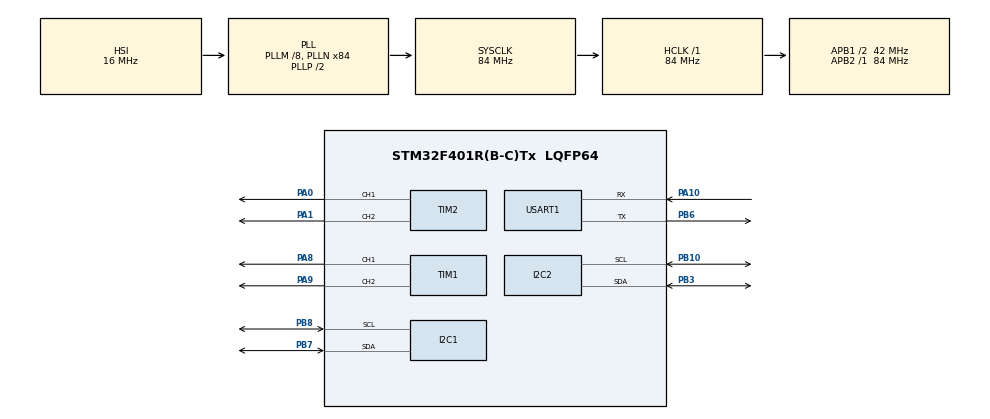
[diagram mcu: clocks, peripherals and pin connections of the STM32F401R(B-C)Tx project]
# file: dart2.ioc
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Mcu.Family=STM32F4
Mcu.Name=STM32F401R(B-C)Tx
Mcu.Package=LQFP64
NVIC.PriorityGroup=NVIC_PRIORITYGROUP_4
PA0-WKUP.Signal=S_TIM2_CH1_ETR
PA1.Signal=S_TIM2_CH2
PA10.Mode=Asynchronous
PA10.Signal=USART1_RX
PA13.Mode=Serial_Wire
PA13.Signal=SYS_JTMS-SWDIO
PA14.Mode=Serial_Wire
PA14.Signal=SYS_JTCK-SWCLK
PA8.Signal=S_TIM1_CH1
PA9.Signal=S_TIM1_CH2
PB10.Mode=I2C
PB10.Signal=I2C2_SCL
PB3.Mode=I2C
PB3.Signal=I2C2_SDA
PB6.Mode=Asynchronous
PB6.Signal=USART1_TX
PB7.Mode=I2C
PB7.Signal=I2C1_SDA
PB8.Mode=I2C
PB8.Signal=I2C1_SCL
PH0\ -\ OSC_IN.Mode=HSE-External-Oscillator
PH0\ -\ OSC_IN.Signal=RCC_OSC_IN
PH1\ -\ OSC_OUT.Mode=HSE-External-Oscillator
PH1\ -\ OSC_OUT.Signal=RCC_OSC_OUT
ProjectManager.HeapSize=0x200
ProjectManager.StackSize=0x400
ProjectManager.TargetToolchain=MDK-ARM V5.32
RCC.48MHZClocksFreq_Value=42000000
RCC.AHBFreq_Value=84000000
RCC.APB1CLKDivider=RCC_HCLK_DIV2
RCC.APB1Freq_Value=42000000
RCC.APB1TimFreq_Value=84000000
RCC.APB2Freq_Value=84000000
RCC.APB2TimFreq_Value=84000000
RCC.CortexFreq_Value=84000000
RCC.HCLKFreq_Value=84000000
RCC.HSE_VALUE=25000000
RCC.HSI_VALUE=16000000
RCC.LSE_VALUE=32768
RCC.PLLM=8
RCC.PLLN=84
RCC.SYSCLKFreq_VALUE=84000000
RCC.SYSCLKSource=RCC_SYSCLKSOURCE_PLLCLK
RCC.VCOOutputFreq_Value=168000000
SH.S_TIM1_CH1.0=TIM1_CH1,PWM Generation1 CH1
SH.S_TIM1_CH2.0=TIM1_CH2,PWM Generation2 CH2
SH.S_TIM2_CH1_ETR.0=TIM2_CH1,PWM Generation1 CH1
SH.S_TIM2_CH2.0=TIM2_CH2,PWM Generation2 CH2
TIM1.Channel-PWM\ Generation1\ CH1=TIM_CHANNEL_1
TIM1.Channel-PWM\ Generation2\ CH2=TIM_CHANNEL_2
TIM2.Channel-PWM\ Generation1\ CH1=TIM_CHANNEL_1
TIM2.Channel-PWM\ Generation2\ CH2=TIM_CHANNEL_2
USART1.VirtualMode=VM_ASYNC
VP_TIM1_VS_ClockSourceINT.Mode=Internal
VP_TIM2_VS_ClockSourceINT.Mode=Internal
board=custom

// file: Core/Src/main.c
/* USER CODE BEGIN Header */
/**
  ******************************************************************************
  * @file           : main.c
  * @brief          : Main program body
  ******************************************************************************
  * @attention
  *
  * Copyright (c) 2025 STMicroelectronics.
  * All rights reserved.
  *
  * This software is licensed under terms that can be found in the LICENSE file
  * in the root directory of this software component.
  * If no LICENSE file comes with this software, it is provided AS-IS.
  *
  ******************************************************************************
  */
/* USER CODE END Header */
#include "main.h"
#include "i2c.h"
#include "tim.h"
#include "usart.h"
#include "gpio.h"

/* USER CODE BEGIN Includes */
#include "dart_control.h"
#include "oled.h"  // Include OLED header file
#include <stdio.h>
#include <stdlib.h>
#include <string.h>
/* USER CODE END Includes */

/* USER CODE BEGIN PD */
#define LOOP_INTERVAL_MS 10 // Control loop interval 10ms (100Hz)
/* USER CODE END PD */

/* USER CODE BEGIN PV */
Attitude_t attitude;  // Attitude data
Target_t target;      // Target data
Control_t control;    // Control output data
/* USER CODE END PV */

void SystemClock_Config(void);
/* USER CODE BEGIN PFP */
void delay_ms(uint16_t ms);
/* USER CODE END PFP */

/* USER CODE BEGIN 0 */
/**
 * @brief Redirect printf to UART1 and OLED display
 * @param ch Character
 * @param f File pointer (not used)
 * @return int Character written
 */
#ifdef __GNUC__
#define PUTCHAR_PROTOTYPE int __io_putchar(int ch)
#else
#define PUTCHAR_PROTOTYPE int fputc(int ch, FILE *f)
#endif

PUTCHAR_PROTOTYPE
{
  // Send character through UART1
  HAL_UART_Transmit(&huart1, (uint8_t *)&ch, 1, HAL_MAX_DELAY);

  // Also send to OLED screen for display
  static char line_buffer[128]; // OLED line buffer
  static uint8_t buffer_index = 0; // Buffer index

  // Store character to buffer (ignore carriage return '\r')
  if (ch != '\r') {
    if (buffer_index < sizeof(line_buffer) - 1) {
      line_buffer[buffer_index++] = ch;
    }
  }

  // On newline '\n' or full buffer, display the line on OLED
  if (ch == '\n' || buffer_index >= sizeof(line_buffer) - 1) {
    line_buffer[buffer_index] = '\0';  // Add string terminator
    OLED_Printf("%s", line_buffer);    // Print buffer content on OLED
    buffer_index = 0;                  // Reset buffer index
  }

  return ch;
}

/**
 * @brief Millisecond delay function (based on HAL_Delay)
 * @param ms Number of milliseconds to delay
 */
void delay_ms(uint16_t ms)
{
  HAL_Delay(ms);
}
/* USER CODE END 0 */

int main(void)
{
  /* USER CODE BEGIN 1 */
  // User code can be added here - before initialization
  /* USER CODE END 1 */

  /* MCU Configuration--------------------------------------------------------*/

  /* Reset of all peripherals, Initializes the Flash interface and the Systick. */
  HAL_Init();

  /* USER CODE BEGIN Init */
  // User code can be added here - before system clock configuration
  /* USER CODE END Init */

  /* Configure the system clock */
  SystemClock_Config();

  /* USER CODE BEGIN SysInit */
  // User code can be added here - before peripheral initialization
  /* USER CODE END SysInit */

  /* Initialize all configured peripherals */
  MX_GPIO_Init();
  MX_I2C1_Init();
  MX_I2C2_Init();
  MX_TIM1_Init();
  MX_TIM2_Init();
  MX_USART1_UART_Init();
  /* USER CODE BEGIN 2 */

  // Initialize random number generator - using system tick as seed
  srand(HAL_GetTick());

  // Initialize OLED display
  OLED_Init();
  HAL_Delay(100);  // Wait for OLED stabilization
  OLED_Clear();    // Clear screen

  // Output startup information through printf (redirected to UART and OLED)
  printf("\n\rDart Flight Control System Start...\n\r");

  // Initialize dart control core system (including attitude, PID, etc.)
  dart_system_init();

  // Output initialization complete message
  printf("System Init Done. Starting Control Loop...\n\r\n\r");

  /* USER CODE END 2 */

  /* Infinite loop */
  /* USER CODE BEGIN WHILE */
  // Main control loop
  while (1)
  {
    /* USER CODE END WHILE */

    /* USER CODE BEGIN 3 */
    // 1. Get attitude data (currently using simulated data)
    //    In actual application, replace with MPU6050 or other IMU sensor data reading
    simulate_gyro(&attitude);

    // 2. Get target data (currently using simulated data)
    //    In actual application, replace with vision module or other target detection system input
    simulate_target(&target, &attitude);

    // 3. Update attitude control logic (calculate servo/motor output)
    update_attitude_control(&attitude, &target, &control);

    // 4. Output debug information to UART and OLED
    //    Display current attitude (roll, pitch, yaw)
    printf("Att: Roll=%.1f, Pitch=%.1f, Yaw=%.1f | ", attitude.roll, attitude.pitch, attitude.yaw);

    //    Display target detection status and coordinates
    if (target.detected) {
        printf("Target: X=%.2f, Y=%.2f [Detected]\n\r", target.x, target.y);
    } else {
        printf("Target: Not Detected\n\r");
    }

    // 5. Control loop frequency (delay to achieve approximately 100Hz control frequency)
    delay_ms(LOOP_INTERVAL_MS);
  }
  /* USER CODE END 3 */
}

void SystemClock_Config(void)
{
  RCC_OscInitTypeDef RCC_OscInitStruct = {0};
  RCC_ClkInitTypeDef RCC_ClkInitStruct = {0};

  /** Configure the main internal regulator output voltage
  */
  __HAL_RCC_PWR_CLK_ENABLE();
  __HAL_PWR_VOLTAGESCALING_CONFIG(PWR_REGULATOR_VOLTAGE_SCALE2);

  /** Initializes the RCC Oscillators according to the specified parameters
  * in the RCC_OscInitTypeDef structure.
  */
  RCC_OscInitStruct.OscillatorType = RCC_OSCILLATORTYPE_HSI;
  RCC_OscInitStruct.HSIState = RCC_HSI_ON;
  RCC_OscInitStruct.HSICalibrationValue = RCC_HSICALIBRATION_DEFAULT;
  RCC_OscInitStruct.PLL.PLLState = RCC_PLL_ON;
  RCC_OscInitStruct.PLL.PLLSource = RCC_PLLSOURCE_HSI;
  RCC_OscInitStruct.PLL.PLLM = 8;
  RCC_OscInitStruct.PLL.PLLN = 84;
  RCC_OscInitStruct.PLL.PLLP = RCC_PLLP_DIV2;
  RCC_OscInitStruct.PLL.PLLQ = 4;
  if (HAL_RCC_OscConfig(&RCC_OscInitStruct) != HAL_OK)
  {
    Error_Handler();
  }

  /** Initializes the CPU, AHB and APB buses clocks
  */
  RCC_ClkInitStruct.ClockType = RCC_CLOCKTYPE_HCLK|RCC_CLOCKTYPE_SYSCLK
                              |RCC_CLOCKTYPE_PCLK1|RCC_CLOCKTYPE_PCLK2;
  RCC_ClkInitStruct.SYSCLKSource = RCC_SYSCLKSOURCE_PLLCLK;
  RCC_ClkInitStruct.AHBCLKDivider = RCC_SYSCLK_DIV1;
  RCC_ClkInitStruct.APB1CLKDivider = RCC_HCLK_DIV2;
  RCC_ClkInitStruct.APB2CLKDivider = RCC_HCLK_DIV1;

  if (HAL_RCC_ClockConfig(&RCC_ClkInitStruct, FLASH_LATENCY_2) != HAL_OK)
  {
    Error_Handler();
  }
}

void Error_Handler(void)
{
  __disable_irq();
  while (1)
  {
  }
}
